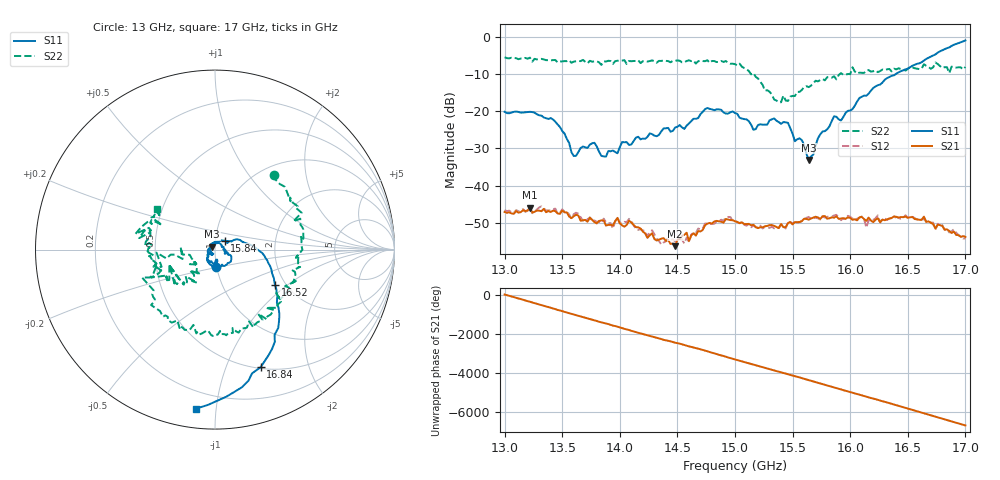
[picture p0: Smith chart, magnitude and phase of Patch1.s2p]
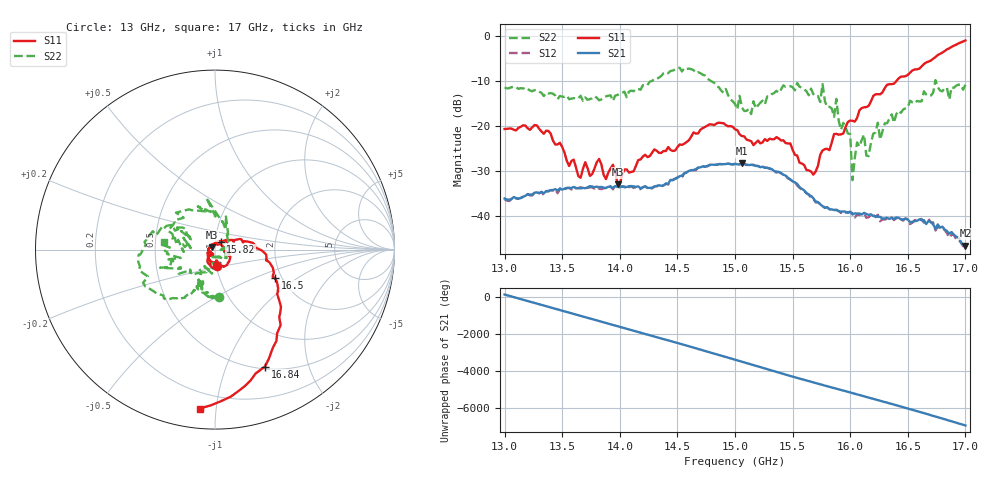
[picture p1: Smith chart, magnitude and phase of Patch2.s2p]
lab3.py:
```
import skrf as rf
import numpy as np
import matplotlib.pyplot as plt
from mpl_toolkits import mplot3d
from scipy import interpolate
from statsmodels.sandbox.regression.ar_panel import PanelAR1


def imp(S22, Z0):
    Zin = Z0 * (1+S22) / (1-S22)
    return Zin

def OperationalBW(S22, f):
    mask = 20*np.log(abs(S22)) < -10

    print(20*np.log(abs(S22)))

    indices = np.where(mask)[0]

    print(f[indices])

    f_low = f[indices[0]]
    f_high = f[indices[-1]]
    print(f_low, f_high)

    BW = f_high - f_low
    return BW

P1 = rf.Network("Exercises/Patch1.s2p")
P2 = rf.Network("Exercises/Patch2.s2p")
P4 = rf.Network("Exercises/Patch4.s2p")
A = rf.Network("Exercises/Patch8/Patch8A.s2p")
B = rf.Network("Exercises/Patch8/Patch8B.s2p")
C = rf.Network("Exercises/Patch8/Patch8C.s2p")
D = rf.Network("Exercises/Patch8/Patch8D.s2p")

freq = B.frequency.f.squeeze()

S22P1 = P1.s22.s.squeeze()
S22P2 = P2.s22.s.squeeze()
S22P4 = P4.s22.s.squeeze()
S22A = A.s22.s.squeeze()
S22B = B.s22.s.squeeze()
S22C = C.s22.s.squeeze()
S22D = D.s22.s.squeeze()

impP1 = imp(S22P1, 50)
impP2 = imp(S22P2, 50)
impP4 = imp(S22P4, 50)
impA = imp(S22A, 50)
impB = imp(S22B, 50)
impC = imp(S22C, 50)
impD = imp(S22D, 50)

#plotting impedances
# plt.figure(figsize=(10, 6))
# plt.plot(freq / 1e9, np.real(impP1), label='Real(Z)', color='blue', linewidth=2)
# plt.plot(freq / 1e9, np.imag(impP1), label='Imag(Z)', color='red', linewidth=2)
# plt.title("Input Impedance vs Frequency", fontsize=14)
# plt.xlabel("Frequency (GHz)", fontsize=12)
# plt.ylabel("Input Impedance (Ohms)", fontsize=12)
# plt.grid(True, which='both', linestyle='--', linewidth=0.5)
# plt.legend()
# plt.tight_layout()
# plt.savefig("impedance_plotP1.svg", format="svg")
# plt.show()
#
# plt.figure(figsize=(10, 6))
# plt.plot(freq / 1e9, np.real(impP2), label='Real(Z)', color='blue', linewidth=2)
# plt.plot(freq / 1e9, np.imag(impP2), label='Imag(Z)', color='red', linewidth=2)
# plt.title("Input Impedance vs Frequency", fontsize=14)
# plt.xlabel("Frequency (GHz)", fontsize=12)
# plt.ylabel("Input Impedance (Ohms)", fontsize=12)
# plt.grid(True, which='both', linestyle='--', linewidth=0.5)
# plt.legend()
# plt.tight_layout()
# plt.savefig("impedance_plotP2.svg", format="svg")
# plt.show()
#
# plt.figure(figsize=(10, 6))
# plt.plot(freq / 1e9, np.real(impP4), label='Real(Z)', color='blue', linewidth=2)
# plt.plot(freq / 1e9, np.imag(impP4), label='Imag(Z)', color='red', linewidth=2)
# plt.title("Input Impedance vs Frequency", fontsize=14)
# plt.xlabel("Frequency (GHz)", fontsize=12)
# plt.ylabel("Input Impedance (Ohms)", fontsize=12)
# plt.grid(True, which='both', linestyle='--', linewidth=0.5)
# plt.legend()
# plt.tight_layout()
# plt.savefig("impedance_plotP4.svg", format="svg")
# plt.show()

# plt.figure(figsize=(10, 6))
# plt.plot(freq / 1e9, np.real(impA), label='Real(Z)', color='blue', linewidth=2)
# plt.plot(freq / 1e9, np.imag(impA), label='Imag(Z)', color='red', linewidth=2)
# plt.title("Input Impedance vs Frequency", fontsize=14)
# plt.xlabel("Frequency (GHz)", fontsize=12)
# plt.ylabel("Input Impedance (Ohms)", fontsize=12)
# plt.grid(True, which='both', linestyle='--', linewidth=0.5)
# plt.legend()
# plt.tight_layout()
# plt.savefig("impedance_plotA.svg", format="svg")
# plt.show()
#
# plt.figure(figsize=(10, 6))
# plt.plot(freq / 1e9, np.real(impB), label='Real(Z)', color='blue', linewidth=2)
# plt.plot(freq / 1e9, np.imag(impB), label='Imag(Z)', color='red', linewidth=2)
# plt.title("Input Impedance vs Frequency", fontsize=14)
# plt.xlabel("Frequency (GHz)", fontsize=12)
# plt.ylabel("Input Impedance (Ohms)", fontsize=12)
# plt.grid(True, which='both', linestyle='--', linewidth=0.5)
# plt.legend()
# plt.tight_layout()
# plt.savefig("impedance_plotB.svg", format="svg")
# plt.show()
#
# plt.figure(figsize=(10, 6))
# plt.plot(freq / 1e9, np.real(impC), label='Real(Z)', color='blue', linewidth=2)
# plt.plot(freq / 1e9, np.imag(impC), label='Imag(Z)', color='red', linewidth=2)
# plt.title("Input Impedance vs Frequency", fontsize=14)
# plt.xlabel("Frequency (GHz)", fontsize=12)
# plt.ylabel("Input Impedance (Ohms)", fontsize=12)
# plt.grid(True, which='both', linestyle='--', linewidth=0.5)
# plt.legend()
# plt.tight_layout()
# plt.savefig("impedance_plotC.svg", format="svg")
# plt.show()
#
# plt.figure(figsize=(10, 6))
# plt.plot(freq / 1e9, np.real(impD), label='Real(Z)', color='blue', linewidth=2)
# plt.plot(freq / 1e9, np.imag(impD), label='Imag(Z)', color='red', linewidth=2)
# plt.title("Input Impedance vs Frequency", fontsize=14)
# plt.xlabel("Frequency (GHz)", fontsize=12)
# plt.ylabel("Input Impedance (Ohms)", fontsize=12)
# plt.grid(True, which='both', linestyle='--', linewidth=0.5)
# plt.legend()
# plt.tight_layout()
# plt.savefig("impedance_plotD.svg", format="svg")
# plt.show()



#(f"Input impedance Patch1: {impedance} Ohm")


#plotting
plt.plot(freq, 20*np.log10(abs(S22P4)))
plt.axhline(-10)
#plt.xlim(1.35e10,1.52e10)
plt.show()

def operationalBW(S22, freq):
    # calculate the crossings of the -10 dB line
    diff = 20 * np.log10(abs(S22)) + 10
    # Find where the sign changes (crossing points)
    sign_changes = np.where(np.diff(np.sign(diff)))[0]

    # Interpolate to get more accurate x-values of intersection
    x_intersections = []
    x_bw = []
    for i in sign_changes:
        f = interpolate.interp1d(diff[i:i + 2], freq[i:i + 2])
        x_cross = f(0.0)
        x_intersections.append(float(x_cross))

    for i in range(len(x_intersections) - 2):
        x_bw.append((x_intersections[i + 1] - x_intersections[i]) / 10 ** 9)
    print("Operational BW:", max(x_bw))
    return

operationalBW(S22P4, freq)
```
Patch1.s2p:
!Keysight Technologies,P9374A,MY57211810,A.19.30.04
!Date: Friday, May 09, 2025 08:53:15
!Correction: S11(Cdelta 2-Port  )
!S21(Cdelta 2-Port  )
!S12(Cdelta 2-Port  )
!S22(Cdelta 2-Port  )
!S2P File: Measurements: S11, S21, S12, S22:
# Hz S  dB  R 50
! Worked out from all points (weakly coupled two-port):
!   201 points, 13 GHz to 17 GHz, reference 50 ohm
!   highest |S21| = -45.94 dB at 13.22 GHz (marker M1); lowest = -56.3 dB at 14.48 GHz (marker M2)
!   lowest |S11| = -33.1 dB at 15.64 GHz (marker M3), VSWR 1.05, Z = 48.5 + j1.55 ohm
!   |S11| at or under -10 dB: start of sweep to 16.4 GHz
!   |S22| runs from -17.7 to -5.5 dB; largest |S21 - S12| = 0.00075
!   S11 on the Smith chart (normalised r, x): 13 GHz: 0.99, -0.20; 15.84 GHz: 1.11, +0.11; 16.52 GHz: 1.76, -0.82; 16.84 GHz: 0.51, -1.33; 17 GHz: 0.10, -0.88
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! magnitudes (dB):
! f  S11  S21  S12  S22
! 13 GHz  -20.2  -47.1  -46.6  -5.5
! 13.22 GHz  -20.2  -45.9  -46.1  -5.6
! 13.6 GHz  -32.0  -48.3  -47.7  -6.7
! 14.48 GHz  -24.4  -56.3  -55.0  -6.5
! 15 GHz  -20.5  -49.6  -49.4  -7.4
! 15.38 GHz  -22.9  -51.4  -51.4  -17.7
! 15.64 GHz  -33.1  -49.2  -48.4  -13.5
! 15.84 GHz  -22.7  -48.6  -48.4  -11.0
! 16.52 GHz  -8.2  -48.5  -48.4  -8.2
! 16.84 GHz  -3.1  -51.8  -51.7  -8.2
! 17 GHz  -1.0  -53.8  -54.3  -8.1
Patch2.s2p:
!Keysight Technologies,P9374A,MY57211810,A.19.30.04
!Date: Friday, May 09, 2025 09:01:41
!Correction: S11(Cdelta 2-Port  )
!S21(Cdelta 2-Port  )
!S12(Cdelta 2-Port  )
!S22(Cdelta 2-Port  )
!S2P File: Measurements: S11, S21, S12, S22:
# Hz S  dB  R 50
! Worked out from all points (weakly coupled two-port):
!   201 points, 13 GHz to 17 GHz, reference 50 ohm
!   highest |S21| = -28.35 dB at 15.06 GHz (marker M1); lowest = -46.6 dB at 17 GHz (marker M2)
!   lowest |S11| = -33.0 dB at 13.98 GHz (marker M3), VSWR 1.05, Z = 48.1 + j1.19 ohm
!   |S11| at or under -10 dB: start of sweep to 16.4 GHz
!   |S22| runs from -32.1 to -7.1 dB; largest |S21 - S12| = 0.0018
!   S11 on the Smith chart (normalised r, x): 13 GHz: 1.00, -0.19; 15.82 GHz: 1.06, +0.09; 16.5 GHz: 1.84, -0.67; 16.84 GHz: 0.53, -1.38; 17 GHz: 0.11, -0.90
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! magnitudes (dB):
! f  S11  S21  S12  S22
! 13 GHz  -20.7  -36.1  -36.4  -11.4
! 13.98 GHz  -33.0  -33.6  -33.4  -13.1
! 14.56 GHz  -23.9  -30.6  -30.5  -7.2
! 15 GHz  -20.8  -28.4  -28.5  -15.1
! 15.06 GHz  -22.3  -28.4  -28.4  -15.9
! 15.82 GHz  -25.4  -38.5  -38.5  -15.8
! 16 GHz  -18.8  -39.0  -39.1  -21.8
! 16.02 GHz  -18.9  -39.7  -39.4  -32.1
! 16.5 GHz  -8.7  -40.8  -40.8  -15.8
! 16.84 GHz  -3.0  -43.4  -43.9  -11.6
! 17 GHz  -1.0  -46.6  -46.4  -10.9
